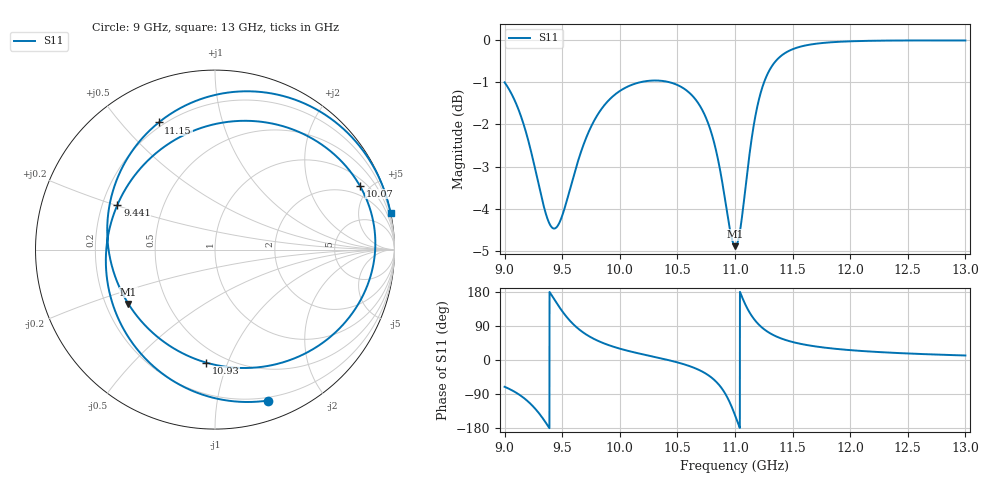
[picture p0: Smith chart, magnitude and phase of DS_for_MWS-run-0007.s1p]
! TOUCHSTONE file generated by CST DESIGN STUDIO
! Date and time: Wed Feb  5 13:36:16 2025
! Project name: C:\Work\MatlabApps\UnitCellOptimizationMatlab\CST\unitcell.cst
! Tree item: Tasks\Sweep1\SPara1\S-Parameters
! Header version: 2024
! Port assignment regex: !\s*Touchstone port\s*([0-9]+)\s*=\s*(CST MWS port|CST DES external port|CST DES block port)\s*(.+)\s* \(\"(.*)\"\)(\s*mode\s*([0-9]+))?.*
! Touchstone port assignment:
! Touchstone port 1 = CST DES external port 1 ("")
# GHz S MA R 50
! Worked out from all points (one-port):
!   4001 points, 9 GHz to 13 GHz, reference 50 ohm
!   lowest |S11| = -4.9 dB at 11 GHz (marker M1), VSWR 3.65, Z = 14.8 - j13.2 ohm
!   |S11| at or under -10 dB: nowhere
!   S11 on the Smith chart (normalised r, x): 9 GHz: 0.17, -1.40; 9.441 GHz: 0.26, +0.20; 10.07 GHz: 1.35, +4.33; 10.93 GHz: 0.40, -0.84; 11.15 GHz: 0.18, +0.64; 13 GHz: 0.03, +9.57
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9  0.8912 -70.7
9.126  0.8237 -91.2
9.223  0.744 -115.0
9.342  0.6335 -158.5
9.441  0.5982 155.3
9.5  0.6189 128.8
9.58  0.6751 99.4
9.671  0.7423 75.1
9.821  0.8212 49.1
10  0.8704 30.0
10.075  0.8818 23.8
10.5  0.8849 -6.3
10.647  0.854 -20.9
10.756  0.804 -37.7
10.843  0.732 -59.4
10.926  0.6312 -94.6
11  0.5695 -145.5
11.003  0.5695 -147.9
11.037  0.5868 -175.3
11.07  0.6316 159.7
11.151  0.7745 113.9
11.218  0.8612 90.1
11.31  0.9268 69.6
11.5  0.9758 47.5
11.703  0.9905 35.6
12  0.9971 26.0
12.5  0.9994 17.2
13  0.9994 11.9
